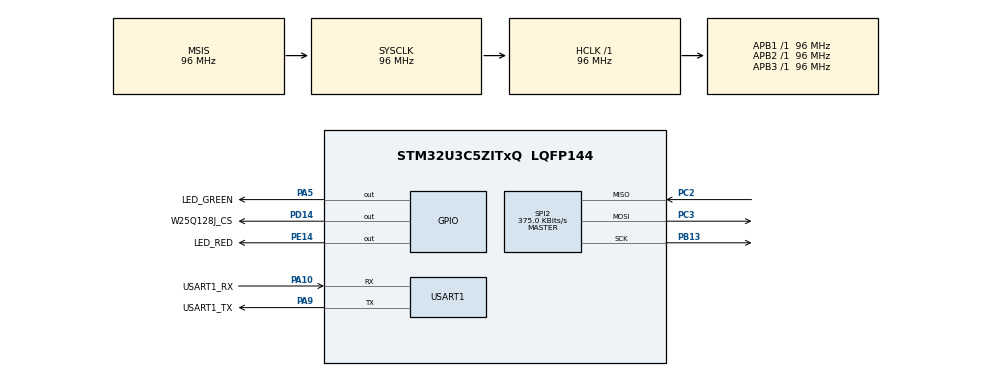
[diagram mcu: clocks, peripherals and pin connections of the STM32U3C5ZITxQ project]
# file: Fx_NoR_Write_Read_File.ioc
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CORTEX_M33_NS.userName=CORTEX_M33
FILEX.FILEX_APPLICATION_THREAD_STACK_SIZE=1024 * 2
FILEX.FX_APP_MEM_POOL_SIZE=4*1024
FILEX.FX_LX_NOR_INTERFACE=1
FILEX.MAX_SECTOR_CACHE_NB_BIT=8
LEVELX.LX_NOR_Custom_Interface=1
LEVELX.LX_NOR_ENABLE_MAPPING_BITMAP=0
LEVELX.LX_NOR_Flash_Support=1
LEVELX.LX_THREAD_SAFE_ENABLE=0
Mcu.Family=STM32U3
Mcu.Name=STM32U3C5ZITxQ
Mcu.Package=LQFP144
NVIC.PriorityGroup=NVIC_PRIORITYGROUP_4
NVIC.TIM6_IRQn=true\:15\:0\:false\:false\:true\:false\:false\:true\:true
NVIC.TimeBase=TIM6_IRQn
NVIC.TimeBaseIP=TIM6
PA10.GPIO_Label=USART1_RX
PA10.Mode=Asynchronous
PA10.Signal=USART1_RX
PA5.GPIO_Label=LED_GREEN
PA5.GPIO_Speed=GPIO_SPEED_FREQ_VERY_HIGH
PA5.Signal=GPIO_Output
PA9.GPIO_Label=USART1_TX
PA9.Mode=Asynchronous
PA9.Signal=USART1_TX
PB13.Mode=Full_Duplex_Master
PB13.Signal=SPI2_SCK
PC2.Mode=Full_Duplex_Master
PC2.Signal=SPI2_MISO
PC3.Mode=Full_Duplex_Master
PC3.Signal=SPI2_MOSI
PD14.GPIO_Label=W25Q128J_CS
PD14.GPIO_Speed=GPIO_SPEED_FREQ_HIGH
PD14.Signal=GPIO_Output
PE14.GPIO_Label=LED_RED
PE14.GPIO_Speed=GPIO_SPEED_FREQ_VERY_HIGH
PE14.Signal=GPIO_Output
ProjectManager.HeapSize=0x200
ProjectManager.StackSize=0x400
ProjectManager.TargetToolchain=EWARM V9.60
RCC.ADCFreq_Value=96000000
RCC.AHBFreq_Value=96000000
RCC.APB1Freq_Value=96000000
RCC.APB1TimFreq_Value=96000000
RCC.APB2Freq_Value=96000000
RCC.APB2TimFreq_Value=96000000
RCC.APB3Freq_Value=96000000
RCC.CortexFreq_Value=12000000
RCC.HCLKFreq_Value=96000000
RCC.HSE_VALUE=16000000
RCC.HSI48_VALUE=48000000
RCC.HSI_VALUE=16000000
RCC.LSE_VALUE=32768
RCC.LSIDIV_VALUE=32000
RCC.MSISDIV=RCC_MSI_DIV1
RCC.MSI_VALUE=96000000
RCC.PWR_Regulator_Voltage_Scale=PWR_REGULATOR_VOLTAGE_SCALE1
RCC.SYSCLKFreq_VALUE=96000000
RCC.USBFreq_Value=96000000
SPI2.BaudRatePrescaler=SPI_BAUDRATEPRESCALER_256
SPI2.CalculateBaudRate=375.0 KBits/s
SPI2.DataSize=SPI_DATASIZE_8BIT
SPI2.Direction=SPI_DIRECTION_2LINES
SPI2.Mode=SPI_MODE_MASTER
SPI2.VirtualType=VM_MASTER
USART1.VirtualMode-Asynchronous=VM_ASYNC
VP_FILEX_VS_FileOoSystemJjFileXJjCore.Mode=FileX_Core
VP_FILEX_VS_LevelXOoNOROointerface.Mode=LevelX_NOR_interface
VP_ICACHE_VS_ICACHE.Mode=DirectMappedCache
VP_LEVELX_VS_FileOoSystemJjLevelXJjNOR.Mode=LevelX_NOR_Flash_Support
VP_LEVELX_VS_NOROocustomOointerface.Mode=NOR_custom_interface
VP_PWR_VS_DBSignals.Mode=DisableDeadBatterySignals
VP_PWR_VS_LPOM.Mode=PowerOptimisation
VP_PWR_VS_SECSignals.Mode=Security/Privilege
VP_SYS_VS_tim6.Mode=TIM6
VP_THREADX_VS_RTOSJjThreadXJjCoreJjDefault.Mode=Core_Default
board=custom

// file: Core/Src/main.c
/* USER CODE BEGIN Header */
/**
  ******************************************************************************
  * @file           : main.c
  * @brief          : Main program body
  ******************************************************************************
  * @attention
  *
  * Copyright (c) 2026 STMicroelectronics.
  * All rights reserved.
  *
  * This software is licensed under terms that can be found in the LICENSE file
  * in the root directory of this software component.
  * If no LICENSE file comes with this software, it is provided AS-IS.
  *
  ******************************************************************************
  */
/* USER CODE END Header */
#include "app_threadx.h"
#include "main.h"

/* USER CODE BEGIN Includes */
#if defined(__ICCARM__)
#include <LowLevelIOInterface.h>
#endif /* __ICCARM__ */
/* USER CODE END Includes */

/* USER CODE BEGIN PM */

#if defined(__ICCARM__)
/* New definition from EWARM V9, compatible with EWARM8 */
int iar_fputc(int ch);
#define PUTCHAR_PROTOTYPE int iar_fputc(int ch)
#elif defined ( __CC_ARM ) || defined(__ARMCC_VERSION)
/* ARM Compiler 5/6*/
#define PUTCHAR_PROTOTYPE int fputc(int ch, FILE *f)
#elif defined(__GNUC__)
#define PUTCHAR_PROTOTYPE int __io_putchar(int ch)
#endif /* __ICCARM__ */

/* USER CODE END PM */

SPI_HandleTypeDef hspi2;

UART_HandleTypeDef huart1;

void SystemClock_Config(void);
static void MX_GPIO_Init(void);
static void MX_ICACHE_Init(void);
static void MX_USART1_UART_Init(void);
static void MX_SPI2_Init(void);

int main(void)
{

  /* MCU Configuration--------------------------------------------------------*/

  /* Reset of all peripherals, Initializes the Flash interface and the Systick. */
  HAL_Init();

  /* Configure the system clock */
  SystemClock_Config();

  /* Initialize all configured peripherals */
  MX_GPIO_Init();
  MX_ICACHE_Init();
  MX_USART1_UART_Init();
  MX_SPI2_Init();

  MX_ThreadX_Init();

  /* We should never get here as control is now taken by the scheduler */

  /* Infinite loop */
  while (1)
  {

  }
}

void SystemClock_Config(void)
{
  RCC_OscInitTypeDef RCC_OscInitStruct = {0};
  RCC_ClkInitTypeDef RCC_ClkInitStruct = {0};

  /** Configure the System Power Supply
  */
  if (HAL_PWREx_ConfigSupply(PWR_SMPS_SUPPLY) != HAL_OK)
  {
    Error_Handler();
  }

  /** Enable Epod Booster
  */
  if (HAL_RCCEx_EpodBoosterClkConfig(RCC_EPODBOOSTER_SOURCE_MSIS, RCC_EPODBOOSTER_DIV1) != HAL_OK)
  {
    Error_Handler();
  }
  if (HAL_PWREx_EnableEpodBooster() != HAL_OK)
  {
    Error_Handler();
  }

  /** Configure the main internal regulator output voltage
  */
  if (HAL_PWREx_ControlVoltageScaling(PWR_REGULATOR_VOLTAGE_SCALE1) != HAL_OK)
  {
    Error_Handler();
  }

  /** Set Flash latency before increasing MSIS
  */
  __HAL_FLASH_SET_LATENCY(FLASH_LATENCY_3);

  /** Initializes the CPU, AHB and APB buses clocks
  */
  RCC_OscInitStruct.OscillatorType = RCC_OSCILLATORTYPE_MSIS;
  RCC_OscInitStruct.MSISState = RCC_MSI_ON;
  RCC_OscInitStruct.MSISSource = RCC_MSI_RC0;
  RCC_OscInitStruct.MSISDiv = RCC_MSI_DIV1;
  if (HAL_RCC_OscConfig(&RCC_OscInitStruct) != HAL_OK)
  {
    Error_Handler();
  }

  /** Initializes the CPU, AHB and APB buses clocks
  */
  RCC_ClkInitStruct.ClockType = RCC_CLOCKTYPE_HCLK|RCC_CLOCKTYPE_SYSCLK
                              |RCC_CLOCKTYPE_PCLK1|RCC_CLOCKTYPE_PCLK2
                              |RCC_CLOCKTYPE_PCLK3;
  RCC_ClkInitStruct.SYSCLKSource = RCC_SYSCLKSOURCE_MSIS;
  RCC_ClkInitStruct.AHBCLKDivider = RCC_SYSCLK_DIV1;
  RCC_ClkInitStruct.APB1CLKDivider = RCC_HCLK_DIV1;
  RCC_ClkInitStruct.APB2CLKDivider = RCC_HCLK_DIV1;
  RCC_ClkInitStruct.APB3CLKDivider = RCC_HCLK_DIV1;

  if (HAL_RCC_ClockConfig(&RCC_ClkInitStruct, FLASH_LATENCY_3) != HAL_OK)
  {
    Error_Handler();
  }
}

static void MX_ICACHE_Init(void)
{

  /** Enable instruction cache in 1-way (direct mapped cache)
  */
  if (HAL_ICACHE_ConfigAssociativityMode(ICACHE_1WAY) != HAL_OK)
  {
    Error_Handler();
  }
  if (HAL_ICACHE_Enable() != HAL_OK)
  {
    Error_Handler();
  }

}

static void MX_SPI2_Init(void)
{

  SPI_AutonomousModeConfTypeDef HAL_SPI_AutonomousMode_Cfg_Struct = {0};

  /* SPI2 parameter configuration*/
  hspi2.Instance = SPI2;
  hspi2.Init.Mode = SPI_MODE_MASTER;
  hspi2.Init.Direction = SPI_DIRECTION_2LINES;
  hspi2.Init.DataSize = SPI_DATASIZE_8BIT;
  hspi2.Init.CLKPolarity = SPI_POLARITY_LOW;
  hspi2.Init.CLKPhase = SPI_PHASE_1EDGE;
  hspi2.Init.NSS = SPI_NSS_SOFT;
  hspi2.Init.BaudRatePrescaler = SPI_BAUDRATEPRESCALER_256;
  hspi2.Init.FirstBit = SPI_FIRSTBIT_MSB;
  hspi2.Init.TIMode = SPI_TIMODE_DISABLE;
  hspi2.Init.CRCCalculation = SPI_CRCCALCULATION_DISABLE;
  hspi2.Init.CRCPolynomial = 0x7;
  hspi2.Init.NSSPMode = SPI_NSS_PULSE_ENABLE;
  hspi2.Init.NSSPolarity = SPI_NSS_POLARITY_LOW;
  hspi2.Init.FifoThreshold = SPI_FIFO_THRESHOLD_01DATA;
  hspi2.Init.MasterSSIdleness = SPI_MASTER_SS_IDLENESS_00CYCLE;
  hspi2.Init.MasterInterDataIdleness = SPI_MASTER_INTERDATA_IDLENESS_00CYCLE;
  hspi2.Init.MasterReceiverAutoSusp = SPI_MASTER_RX_AUTOSUSP_DISABLE;
  hspi2.Init.MasterKeepIOState = SPI_MASTER_KEEP_IO_STATE_DISABLE;
  hspi2.Init.IOSwap = SPI_IO_SWAP_DISABLE;
  hspi2.Init.ReadyMasterManagement = SPI_RDY_MASTER_MANAGEMENT_INTERNALLY;
  hspi2.Init.ReadyPolarity = SPI_RDY_POLARITY_HIGH;
  if (HAL_SPI_Init(&hspi2) != HAL_OK)
  {
    Error_Handler();
  }
  HAL_SPI_AutonomousMode_Cfg_Struct.TriggerState = SPI_AUTO_MODE_DISABLE;
  HAL_SPI_AutonomousMode_Cfg_Struct.TriggerSelection = SPI_GRP1_GPDMA_CH0_TCF_TRG;
  HAL_SPI_AutonomousMode_Cfg_Struct.TriggerPolarity = SPI_TRIG_POLARITY_RISING;
  if (HAL_SPIEx_SetConfigAutonomousMode(&hspi2, &HAL_SPI_AutonomousMode_Cfg_Struct) != HAL_OK)
  {
    Error_Handler();
  }

}

static void MX_USART1_UART_Init(void)
{

  huart1.Instance = USART1;
  huart1.Init.BaudRate = 115200;
  huart1.Init.WordLength = UART_WORDLENGTH_8B;
  huart1.Init.StopBits = UART_STOPBITS_1;
  huart1.Init.Parity = UART_PARITY_NONE;
  huart1.Init.Mode = UART_MODE_TX_RX;
  huart1.Init.HwFlowCtl = UART_HWCONTROL_NONE;
  huart1.Init.OverSampling = UART_OVERSAMPLING_16;
  huart1.Init.OneBitSampling = UART_ONE_BIT_SAMPLE_DISABLE;
  huart1.Init.ClockPrescaler = UART_PRESCALER_DIV1;
  huart1.AdvancedInit.AdvFeatureInit = UART_ADVFEATURE_NO_INIT;
  if (HAL_UART_Init(&huart1) != HAL_OK)
  {
    Error_Handler();
  }
  if (HAL_UARTEx_SetTxFifoThreshold(&huart1, UART_TXFIFO_THRESHOLD_1_8) != HAL_OK)
  {
    Error_Handler();
  }
  if (HAL_UARTEx_SetRxFifoThreshold(&huart1, UART_RXFIFO_THRESHOLD_1_8) != HAL_OK)
  {
    Error_Handler();
  }
  if (HAL_UARTEx_DisableFifoMode(&huart1) != HAL_OK)
  {
    Error_Handler();
  }

}

static void MX_GPIO_Init(void)
{
  GPIO_InitTypeDef GPIO_InitStruct = {0};

  /* GPIO Ports Clock Enable */
  __HAL_RCC_GPIOC_CLK_ENABLE();
  __HAL_RCC_GPIOA_CLK_ENABLE();
  __HAL_RCC_GPIOE_CLK_ENABLE();
  __HAL_RCC_GPIOB_CLK_ENABLE();
  __HAL_RCC_GPIOD_CLK_ENABLE();

  /*Configure GPIO pin Output Level */
  HAL_GPIO_WritePin(LED_GREEN_GPIO_Port, LED_GREEN_Pin, GPIO_PIN_RESET);

  /*Configure GPIO pin Output Level */
  HAL_GPIO_WritePin(LED_RED_GPIO_Port, LED_RED_Pin, GPIO_PIN_RESET);

  /*Configure GPIO pin Output Level */
  HAL_GPIO_WritePin(W25Q128J_CS_GPIO_Port, W25Q128J_CS_Pin, GPIO_PIN_RESET);

  /*Configure GPIO pin : LED_GREEN_Pin */
  GPIO_InitStruct.Pin = LED_GREEN_Pin;
  GPIO_InitStruct.Mode = GPIO_MODE_OUTPUT_PP;
  GPIO_InitStruct.Pull = GPIO_NOPULL;
  GPIO_InitStruct.Speed = GPIO_SPEED_FREQ_VERY_HIGH;
  HAL_GPIO_Init(LED_GREEN_GPIO_Port, &GPIO_InitStruct);

  /*Configure GPIO pin : LED_RED_Pin */
  GPIO_InitStruct.Pin = LED_RED_Pin;
  GPIO_InitStruct.Mode = GPIO_MODE_OUTPUT_PP;
  GPIO_InitStruct.Pull = GPIO_NOPULL;
  GPIO_InitStruct.Speed = GPIO_SPEED_FREQ_VERY_HIGH;
  HAL_GPIO_Init(LED_RED_GPIO_Port, &GPIO_InitStruct);

  /*Configure GPIO pin : W25Q128J_CS_Pin */
  GPIO_InitStruct.Pin = W25Q128J_CS_Pin;
  GPIO_InitStruct.Mode = GPIO_MODE_OUTPUT_PP;
  GPIO_InitStruct.Pull = GPIO_NOPULL;
  GPIO_InitStruct.Speed = GPIO_SPEED_FREQ_HIGH;
  HAL_GPIO_Init(W25Q128J_CS_GPIO_Port, &GPIO_InitStruct);

}

/* USER CODE BEGIN 4 */

#if defined(__ICCARM__)
size_t __write(int file, unsigned char const *ptr, size_t len)
{
  size_t idx;
  unsigned char const *pdata = ptr;

  for (idx = 0; idx < len; idx++)
  {
    iar_fputc((int)*pdata);
    pdata++;
  }
  return len;
}
#endif /* __ICCARM__ */

/**
  * @brief  Retargets the C library printf function to the USART.
  * @param  None
  * @retval None
  */
PUTCHAR_PROTOTYPE
{
  /* Place your implementation of fputc here */
  /* e.g. write a character to the UART1 and Loop until the end of transmission */
  HAL_UART_Transmit(&huart1, (uint8_t *)&ch, 1, 0xFFFF);

  return ch;
}

/* USER CODE END 4 */

void HAL_TIM_PeriodElapsedCallback(TIM_HandleTypeDef *htim)
{
  if (htim->Instance == TIM6)
  {
    HAL_IncTick();
  }
}

void Error_Handler(void)
{
  /* USER CODE BEGIN Error_Handler_Debug */
  /* User can add his own implementation to report the HAL error return state */
  HAL_GPIO_WritePin(LED_GREEN_GPIO_Port, LED_GREEN_Pin, GPIO_PIN_RESET);
  /* Error message */
  printf("** Error occurred ** \n\r");
  while (1)
  {
    HAL_GPIO_TogglePin(LED_RED_GPIO_Port, LED_RED_Pin);
    HAL_Delay(200);
  }
  /* USER CODE END Error_Handler_Debug */
}
